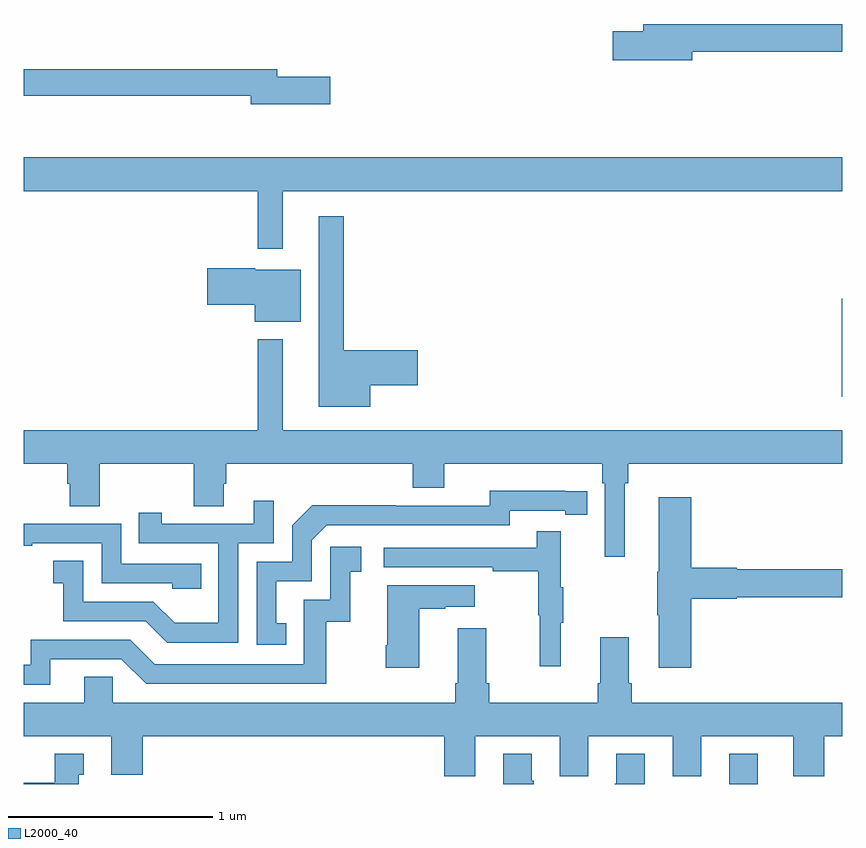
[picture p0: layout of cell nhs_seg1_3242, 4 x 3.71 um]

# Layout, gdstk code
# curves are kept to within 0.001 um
import gdstk
lib = gdstk.Library(unit=1e-6, precision=1e-09)
def R(c, l, rs):  # rectangles x0, y0, x1, y1
    for r in rs: c.add(gdstk.rectangle(r[:2], r[2:], *l))
def P(c, l, *ps):  # polygons
    for p in ps: c.add(gdstk.Polygon(p, *l))
L2000_40 = (2000, 40)

nhs_seg1_3242 = lib.new_cell('nhs_seg1_3242')
R(nhs_seg1_3242, L2000_40, [(290.447,518.199,290.587,518.347), (290.996,520.092,291,520.569)])
P(nhs_seg1_3242, L2000_40, [(290.266,521.776),(291,521.776),(291,521.912),(290.027,521.912),(290.027,521.876),(289.878,521.876),(289.878,521.734),(290.266,521.734)],
  [(288.499,521.654),(288.238,521.654),(288.238,521.69),(287,521.69),(287,521.562),(288.11,521.562),(288.11,521.519),(288.499,521.519)],
  [(288.265,521.096),(291,521.096),(291,521.26),(287,521.26),(287,521.096),(288.144,521.096),(288.144,520.815),(288.265,520.815)],
  [(288.694,520.148),(288.925,520.148),(288.925,520.319),(288.565,520.319),(288.565,520.972),(288.443,520.972),(288.443,520.043),(288.694,520.043)],
  [(288.355,520.711),(288.132,520.711),(288.132,520.719),(287.898,520.719),(287.898,520.541),(288.128,520.541),(288.128,520.457),(288.355,520.457)],
  [(289.936,519.668),(289.955,519.668),(289.955,519.764),(291,519.764),(291,519.928),(288.265,519.928),(288.265,520.372),(288.144,520.372),(288.144,519.928),(287,519.928),(287,519.764),(287.213,519.764),(287.213,519.666),(287.225,519.666),(287.225,519.556),(287.373,519.556),(287.373,519.764),(287.83,519.764),(287.83,519.556),(287.977,519.556),(287.977,519.666),(287.99,519.666),(287.99,519.764),(288.902,519.764),(288.902,519.647),(289.054,519.647),(289.054,519.764),(289.826,519.764),(289.826,519.668),(289.839,519.668),(289.839,519.309),(289.936,519.309)],
  [(288.284,518.985),(288.235,518.985),(288.235,519.189),(288.408,519.189),(288.408,519.39),(288.48,519.462),(289.374,519.462),(289.374,519.534),(289.646,519.534),(289.646,519.514),(289.754,519.514),(289.754,519.63),(289.278,519.631),(289.278,519.558),(288.818,519.558),(288.818,519.56),(288.41,519.56),(288.312,519.462),(288.312,519.285),(288.138,519.285),(288.138,518.88),(288.284,518.88)],
  [(290.261,519.104),(290.484,519.104),(290.484,519.112),(291,519.112),(291,519.248),(290.484,519.248),(290.484,519.256),(290.261,519.256),(290.261,519.601),(290.102,519.601),(290.102,519.237),(290.095,519.237),(290.095,519.023),(290.102,519.023),(290.102,518.766),(290.261,518.766)],
  [(288.048,519.375),(288.222,519.375),(288.222,519.583),(288.125,519.583),(288.125,519.471),(287.674,519.471),(287.674,519.523),(287.563,519.523),(287.563,519.375),(287.952,519.375),(287.952,518.986),(287.738,518.986),(287.634,519.09),(287.292,519.09),(287.292,519.289),(287.145,519.289),(287.145,519.179),(287.194,519.179),(287.194,518.994),(287.597,518.994),(287.702,518.889),(288.048,518.889)],
  [(287.867,519.276),(287.478,519.276),(287.478,519.471),(287,519.471),(287,519.363),(287.041,519.363),(287.041,519.375),(287.382,519.375),(287.382,519.18),(287.727,519.18),(287.727,519.153),(287.867,519.153)],
  [(289.625,518.987),(289.636,518.987),(289.636,519.161),(289.625,519.161),(289.625,519.433),(289.507,519.433),(289.507,519.354),(288.759,519.354),(288.759,519.258),(289.291,519.258),(289.291,519.238),(289.515,519.238),(289.515,519.024),(289.522,519.024),(289.522,518.775),(289.625,518.775)],
  [(287.131,518.808),(287.478,518.808),(287.598,518.688),(288.478,518.688),(288.478,518.991),(288.596,518.991),(288.596,519.237),(288.649,519.237),(288.649,519.358),(288.498,519.358),(288.498,519.099),(288.369,519.099),(288.369,518.784),(287.64,518.784),(287.52,518.904),(287.034,518.904),(287.034,518.781),(287,518.781),(287,518.685),(287.131,518.685)],
  [(288.934,519.055),(289.061,519.055),(289.061,519.065),(289.204,519.065),(289.204,519.169),(288.776,519.169),(288.776,518.878),(288.769,518.878),(288.769,518.766),(288.934,518.766)],
  [(287.297,518.723),(287.297,518.596),(287,518.596),(287,518.432),(287.429,518.432),(287.429,518.243),(287.582,518.243),(287.582,518.432),(289.055,518.432),(289.055,518.238),(289.207,518.238),(289.207,518.432),(289.619,518.432),(289.619,518.238),(289.759,518.238),(289.759,518.432),(290.171,518.432),(290.171,518.238),(290.311,518.238),(290.311,518.432),(290.759,518.432),(290.759,518.238),(290.912,518.238),(290.912,518.432),(291,518.432),(291,518.596),(289.97,518.596),(289.97,518.692),(289.957,518.692),(289.957,518.917),(289.817,518.917),(289.817,518.692),(289.805,518.692),(289.805,518.596),(289.274,518.596),(289.274,518.692),(289.261,518.692),(289.261,518.959),(289.121,518.959),(289.121,518.692),(289.109,518.692),(289.109,518.596),(287.436,518.596),(287.436,518.723)],
  [(287.269,518.244),(287.293,518.244),(287.293,518.347),(287.153,518.347),(287.153,518.206),(287,518.206),(287,518.199),(287.269,518.199)],
  [(289.491,518.215),(289.483,518.215),(289.483,518.347),(289.343,518.347),(289.343,518.199),(289.491,518.199)],
  [(290.035,518.347),(289.895,518.347),(289.895,518.201),(289.888,518.201),(289.888,518.199),(290.035,518.199)])

lib.write_gds('nhs_seg1_3242.gds')
